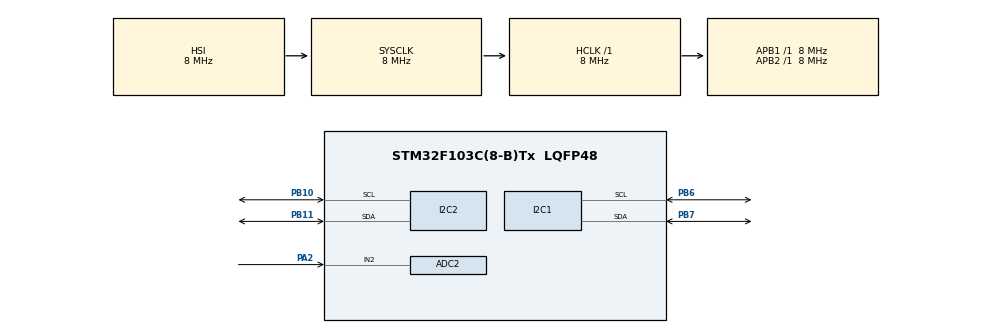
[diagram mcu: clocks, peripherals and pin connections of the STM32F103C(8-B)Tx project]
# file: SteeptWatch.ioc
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Mcu.Family=STM32F1
FREERTOS.Tasks01=defaultTask,0,128,StartDefaultTask,Default,NULL,Dynamic,NULL,NULL;bpmTask,-3,128,StartTask02,Default,NULL,Dynamic,NULL,NULL;stepTask,-3,128,StartTask03,Default,NULL,Dynamic,NULL,NULL;displayTask,-3,128,StartTask04,Default,NULL,Dynamic,NULL,NULL
PD1-OSC_OUT.Mode=HSE-External-Oscillator
PB10.Mode=I2C
SH.ADCx_IN2.0=ADC2_IN2,IN2
PD0-OSC_IN.Signal=RCC_OSC_IN
PB11.Signal=I2C2_SDA
ProjectManager.StackSize=0x400
PD1-OSC_OUT.Signal=RCC_OSC_OUT
PA13.Signal=SYS_JTMS-SWDIO
PB11.Mode=I2C
ADC2.ContinuousConvMode=DISABLE
ProjectManager.TargetToolchain=STM32CubeIDE
I2C1.I2C_Mode=I2C_Fast
RCC.HCLKFreq_Value=8000000
RCC.APB2TimFreq_Value=8000000
TIM3.Period=1999
PB6.Signal=I2C1_SCL
PB6.Mode=I2C
RCC.USBFreq_Value=8000000
RCC.AHBFreq_Value=8000000
PB10.Signal=I2C2_SCL
PD0-OSC_IN.Mode=HSE-External-Oscillator
board=custom
NVIC.TIM3_IRQn=true\:5\:0\:false\:false\:true\:true\:true\:true
ADC2.Channel-2\#ChannelRegularConversion=ADC_CHANNEL_2
RCC.APB2Freq_Value=8000000
PA14.Mode=Serial_Wire
TIM3.Prescaler=7
PB7.Signal=I2C1_SDA
VP_FREERTOS_VS_CMSIS_V1.Mode=CMSIS_V1
PA13.Mode=Serial_Wire
Mcu.Name=STM32F103C(8-B)Tx
PA2.Signal=ADCx_IN2
RCC.SYSCLKFreq_VALUE=8000000
Mcu.Package=LQFP48
ADC2.NbrOfConversionFlag=1
PB7.Mode=I2C
PA14.Signal=SYS_JTCK-SWCLK
ProjectManager.HeapSize=0x200
NVIC.PriorityGroup=NVIC_PRIORITYGROUP_4
ADC2.SamplingTime-2\#ChannelRegularConversion=ADC_SAMPLETIME_28CYCLES_5
ADC2.NbrOfConversion=1
RCC.APB1TimFreq_Value=8000000
ADC2.Rank-2\#ChannelRegularConversion=1
RCC.APB1Freq_Value=8000000
VP_TIM3_VS_ClockSourceINT.Mode=Internal

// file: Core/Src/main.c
/* USER CODE BEGIN Header */
/**
  ******************************************************************************
  * @file           : main.c
  * @brief          : Main program body
  ******************************************************************************
  * @attention
  *
  * <h2><center>&copy; Copyright (c) 2021 STMicroelectronics.
  * All rights reserved.</center></h2>
  *
  * This software component is licensed by ST under BSD 3-Clause license,
  * the "License"; You may not use this file except in compliance with the
  * License. You may obtain a copy of the License at:
  *                        opensource.org/licenses/BSD-3-Clause
  *
  ******************************************************************************
  */
/* USER CODE END Header */
#include "main.h"
#include "cmsis_os.h"

/* USER CODE BEGIN Includes */
#include "fonts.h"
#include "ssd1306.h"
#include "test.h"
#include "stdio.h"
#include "math.h"
/* USER CODE END Includes */

ADC_HandleTypeDef hadc2;

I2C_HandleTypeDef hi2c1;
I2C_HandleTypeDef hi2c2;

TIM_HandleTypeDef htim3;

osThreadId defaultTaskHandle;
osThreadId bpmTaskHandle;
osThreadId stepTaskHandle;
osThreadId displayTaskHandle;

void SystemClock_Config(void);
static void MX_GPIO_Init(void);
static void MX_I2C1_Init(void);
static void MX_ADC2_Init(void);
static void MX_TIM3_Init(void);
static void MX_I2C2_Init(void);
void StartDefaultTask(void const * argument);
void StartTask02(void const * argument);
void StartTask03(void const * argument);
void StartTask04(void const * argument);

/* USER CODE BEGIN 0 */

#define true 1
#define false 0
int bpm;                   // used to hold the pulse rate
int signal;                // holds the incoming raw data
int IBI = 600;             // holds the time between beats, must be seeded!
unsigned char pulse = false;     // true when pulse wave is high, false when it's low
unsigned char beat_detected = false;        // becomes true when stm finds a beat.
int rate[10];                    // array to hold last ten IBI values
unsigned long sampleCounter = 0;          // used to determine pulse timing
unsigned long lastBeatTime = 0;           // used to find IBI
int P =512;                      // used to find peak in pulse wave
int T = 512;                     // used to find trough in pulse wave
int thresh = 512;                // used to find instant moment of heart beat
int amp = 100;                   // used to hold amplitude of pulse waveform
int num;
unsigned char firstBeat = true;        // used to seed rate array so we startup with reasonable BPM
unsigned char secondBeat = false;      // used to seed rate array so we startup with reasonable BPM

#define MPU6050_ADDR 0xD0

#define SMPLRT_DIV_REG 0x19
#define GYRO_CONFIG_REG 0x1B
#define ACCEL_CONFIG_REG 0x1C
#define ACCEL_XOUT_H_REG 0x3B
#define TEMP_OUT_H_REG 0x41
#define GYRO_XOUT_H_REG 0x43
#define PWR_MGMT_1_REG 0x6B
#define WHO_AM_I_REG 0x75

int16_t acc_x_raw = 0;
int16_t acc_y_raw = 0;
int16_t acc_z_raw = 0;

int16_t gyro_x_raw = 0;
int16_t gyro_y_raw = 0;
int16_t gyro_z_raw = 0;

float ax, ay, az, gx, gy, gz;

float prev_vec;
float curr_vec;
float total_vec;
int step_count = 0;

char bpm_buf[10] = {0};
char step_buf[10] = {0};

void MPU6050_Init (void)
{
	uint8_t is_operating;
	uint8_t config_data;

	// check device ID WHO_AM_I

	HAL_I2C_Mem_Read (&hi2c2, MPU6050_ADDR,WHO_AM_I_REG,1, &is_operating, 1, 1000);

	if (is_operating == 0x68)  // 0x68 will be returned by the sensor if everything goes well
	{
		config_data = 0;
		HAL_I2C_Mem_Write(&hi2c2, MPU6050_ADDR, PWR_MGMT_1_REG, 1,&config_data, 1, 1000);

		config_data = 0x07;
		HAL_I2C_Mem_Write(&hi2c2, MPU6050_ADDR, SMPLRT_DIV_REG, 1, &config_data, 1, 1000);

		config_data = 0x00;
		HAL_I2C_Mem_Write(&hi2c2, MPU6050_ADDR, ACCEL_CONFIG_REG, 1, &config_data, 1, 1000);

		config_data = 0x00;
		HAL_I2C_Mem_Write(&hi2c2, MPU6050_ADDR, GYRO_CONFIG_REG, 1, &config_data, 1, 1000);
	}

}

void MPU6050_Read_Acc (void)
{
	uint8_t data[6];

	// Read 6 BYTES of data starting from ACCEL_XOUT_H register

	HAL_I2C_Mem_Read (&hi2c2, MPU6050_ADDR, ACCEL_XOUT_H_REG, 1, data, 6, 1000);

	acc_x_raw = (int16_t)(data[0] << 8 | data [1]);
	acc_y_raw = (int16_t)(data[2] << 8 | data [3]);
	acc_z_raw = (int16_t)(data[4] << 8 | data [5]);

	ax = acc_x_raw/16384.0;
	ay = acc_y_raw/16384.0;
	az = acc_z_raw/16384.0;
}

void MPU6050_Read_Gyro (void)
{
	uint8_t data[6];

	// Read 6 BYTES of data starting from GYRO_XOUT_H register

	HAL_I2C_Mem_Read (&hi2c2, MPU6050_ADDR, GYRO_XOUT_H_REG, 1, data, 6, 1000);

	gyro_x_raw = (int16_t)(data[0] << 8 | data [1]);
	gyro_y_raw = (int16_t)(data[2] << 8 | data [3]);
	gyro_z_raw = (int16_t)(data[4] << 8 | data [5]);

	gx = gyro_x_raw/131.0;
	gy = gyro_y_raw/131.0;
	gz = gyro_z_raw/131.0;
}

void accelometer_task_func()
{
	while(1)
	{
		MPU6050_Read_Acc();
		curr_vec = sqrt((acc_x_raw*acc_x_raw)+(acc_y_raw*acc_y_raw)+(acc_z_raw*acc_z_raw));
		total_vec = curr_vec - prev_vec;
		if(total_vec > 625)
			step_count += 1;
		prev_vec = curr_vec;
		osDelay(1000);
	}
}

void bpm_task_func()
{

	while(1)
	{
		if(beat_detected)
		{
			beat_detected = false;
			osDelay(20);
		}
	}
}

void display_task_func()
{

	while(1)
	{
		sprintf(bpm_buf, "%-5d", bpm);
		sprintf(step_buf, "%-5d", step_count);
		SSD1306_GotoXY(0, 40);
		SSD1306_Puts(bpm_buf, &Font_11x18, 1);
		SSD1306_GotoXY(70, 40);
		SSD1306_Puts(step_buf, &Font_11x18, 1);
		SSD1306_UpdateScreen();
		osDelay(1000);
	}
}
/* USER CODE END 0 */

int main(void)
{

  /* MCU Configuration--------------------------------------------------------*/

  /* Reset of all peripherals, Initializes the Flash interface and the Systick. */
  HAL_Init();

  /* Configure the system clock */
  SystemClock_Config();

  /* Initialize all configured peripherals */
  MX_GPIO_Init();
  MX_I2C1_Init();
  MX_ADC2_Init();
  MX_TIM3_Init();
  MX_I2C2_Init();
  /* USER CODE BEGIN 2 */
  MPU6050_Init();
  SSD1306_Init();
  HAL_TIM_Base_Start_IT(&htim3);
	SSD1306_GotoXY(0, 0);
	SSD1306_Puts("BPM", &Font_11x18, 1);

	SSD1306_GotoXY(70, 0);
	SSD1306_Puts("STEP", &Font_11x18, 1);

	SSD1306_GotoXY(58, 0);
	SSD1306_Puts("|", &Font_11x18, 1);
	SSD1306_GotoXY(58, 18);
	SSD1306_Puts("|", &Font_11x18, 1);
	SSD1306_GotoXY(58, 36);
	SSD1306_Puts("|", &Font_11x18, 1);
	SSD1306_GotoXY(58, 54);
	SSD1306_Puts("|", &Font_11x18, 1);
	SSD1306_GotoXY(58, 72);
	SSD1306_Puts("|", &Font_11x18, 1);
	SSD1306_UpdateScreen();
  /* USER CODE END 2 */

  /* Create the thread(s) */
  /* definition and creation of defaultTask */
  osThreadDef(defaultTask, StartDefaultTask, osPriorityNormal, 0, 128);
  defaultTaskHandle = osThreadCreate(osThread(defaultTask), NULL);

  /* definition and creation of bpmTask */
  osThreadDef(bpmTask, bpm_task_func, osPriorityIdle, 0, 128);
  bpmTaskHandle = osThreadCreate(osThread(bpmTask), NULL);

  /* definition and creation of stepTask */
  osThreadDef(stepTask, accelometer_task_func, osPriorityNormal, 0, 128);
  stepTaskHandle = osThreadCreate(osThread(stepTask), NULL);

  /* definition and creation of displayTask */
  osThreadDef(displayTask, display_task_func, osPriorityNormal, 0, 128);
  displayTaskHandle = osThreadCreate(osThread(displayTask), NULL);

  /* Start scheduler */
  osKernelStart();

  /* We should never get here as control is now taken by the scheduler */
  /* Infinite loop */
  while (1)
  {

  }
}

void SystemClock_Config(void)
{
  RCC_OscInitTypeDef RCC_OscInitStruct = {0};
  RCC_ClkInitTypeDef RCC_ClkInitStruct = {0};
  RCC_PeriphCLKInitTypeDef PeriphClkInit = {0};

  /** Initializes the RCC Oscillators according to the specified parameters
  * in the RCC_OscInitTypeDef structure.
  */
  RCC_OscInitStruct.OscillatorType = RCC_OSCILLATORTYPE_HSI;
  RCC_OscInitStruct.HSIState = RCC_HSI_ON;
  RCC_OscInitStruct.HSICalibrationValue = RCC_HSICALIBRATION_DEFAULT;
  RCC_OscInitStruct.PLL.PLLState = RCC_PLL_NONE;
  if (HAL_RCC_OscConfig(&RCC_OscInitStruct) != HAL_OK)
  {
    Error_Handler();
  }
  /** Initializes the CPU, AHB and APB buses clocks
  */
  RCC_ClkInitStruct.ClockType = RCC_CLOCKTYPE_HCLK|RCC_CLOCKTYPE_SYSCLK
                              |RCC_CLOCKTYPE_PCLK1|RCC_CLOCKTYPE_PCLK2;
  RCC_ClkInitStruct.SYSCLKSource = RCC_SYSCLKSOURCE_HSI;
  RCC_ClkInitStruct.AHBCLKDivider = RCC_SYSCLK_DIV1;
  RCC_ClkInitStruct.APB1CLKDivider = RCC_HCLK_DIV1;
  RCC_ClkInitStruct.APB2CLKDivider = RCC_HCLK_DIV1;

  if (HAL_RCC_ClockConfig(&RCC_ClkInitStruct, FLASH_LATENCY_0) != HAL_OK)
  {
    Error_Handler();
  }
  PeriphClkInit.PeriphClockSelection = RCC_PERIPHCLK_ADC;
  PeriphClkInit.AdcClockSelection = RCC_ADCPCLK2_DIV2;
  if (HAL_RCCEx_PeriphCLKConfig(&PeriphClkInit) != HAL_OK)
  {
    Error_Handler();
  }
}

static void MX_ADC2_Init(void)
{

  ADC_ChannelConfTypeDef sConfig = {0};

  /** Common config
  */
  hadc2.Instance = ADC2;
  hadc2.Init.ScanConvMode = ADC_SCAN_DISABLE;
  hadc2.Init.ContinuousConvMode = DISABLE;
  hadc2.Init.DiscontinuousConvMode = DISABLE;
  hadc2.Init.ExternalTrigConv = ADC_SOFTWARE_START;
  hadc2.Init.DataAlign = ADC_DATAALIGN_RIGHT;
  hadc2.Init.NbrOfConversion = 1;
  if (HAL_ADC_Init(&hadc2) != HAL_OK)
  {
    Error_Handler();
  }
  /** Configure Regular Channel
  */
  sConfig.Channel = ADC_CHANNEL_2;
  sConfig.Rank = ADC_REGULAR_RANK_1;
  sConfig.SamplingTime = ADC_SAMPLETIME_28CYCLES_5;
  if (HAL_ADC_ConfigChannel(&hadc2, &sConfig) != HAL_OK)
  {
    Error_Handler();
  }

}

static void MX_I2C1_Init(void)
{

  hi2c1.Instance = I2C1;
  hi2c1.Init.ClockSpeed = 400000;
  hi2c1.Init.DutyCycle = I2C_DUTYCYCLE_2;
  hi2c1.Init.OwnAddress1 = 0;
  hi2c1.Init.AddressingMode = I2C_ADDRESSINGMODE_7BIT;
  hi2c1.Init.DualAddressMode = I2C_DUALADDRESS_DISABLE;
  hi2c1.Init.OwnAddress2 = 0;
  hi2c1.Init.GeneralCallMode = I2C_GENERALCALL_DISABLE;
  hi2c1.Init.NoStretchMode = I2C_NOSTRETCH_DISABLE;
  if (HAL_I2C_Init(&hi2c1) != HAL_OK)
  {
    Error_Handler();
  }

}

static void MX_I2C2_Init(void)
{

  hi2c2.Instance = I2C2;
  hi2c2.Init.ClockSpeed = 100000;
  hi2c2.Init.DutyCycle = I2C_DUTYCYCLE_2;
  hi2c2.Init.OwnAddress1 = 0;
  hi2c2.Init.AddressingMode = I2C_ADDRESSINGMODE_7BIT;
  hi2c2.Init.DualAddressMode = I2C_DUALADDRESS_DISABLE;
  hi2c2.Init.OwnAddress2 = 0;
  hi2c2.Init.GeneralCallMode = I2C_GENERALCALL_DISABLE;
  hi2c2.Init.NoStretchMode = I2C_NOSTRETCH_DISABLE;
  if (HAL_I2C_Init(&hi2c2) != HAL_OK)
  {
    Error_Handler();
  }

}

static void MX_TIM3_Init(void)
{

  TIM_ClockConfigTypeDef sClockSourceConfig = {0};
  TIM_MasterConfigTypeDef sMasterConfig = {0};

  htim3.Instance = TIM3;
  htim3.Init.Prescaler = 7;
  htim3.Init.CounterMode = TIM_COUNTERMODE_UP;
  htim3.Init.Period = 1999;
  htim3.Init.ClockDivision = TIM_CLOCKDIVISION_DIV1;
  htim3.Init.AutoReloadPreload = TIM_AUTORELOAD_PRELOAD_DISABLE;
  if (HAL_TIM_Base_Init(&htim3) != HAL_OK)
  {
    Error_Handler();
  }
  sClockSourceConfig.ClockSource = TIM_CLOCKSOURCE_INTERNAL;
  if (HAL_TIM_ConfigClockSource(&htim3, &sClockSourceConfig) != HAL_OK)
  {
    Error_Handler();
  }
  sMasterConfig.MasterOutputTrigger = TIM_TRGO_RESET;
  sMasterConfig.MasterSlaveMode = TIM_MASTERSLAVEMODE_DISABLE;
  if (HAL_TIMEx_MasterConfigSynchronization(&htim3, &sMasterConfig) != HAL_OK)
  {
    Error_Handler();
  }

}

static void MX_GPIO_Init(void)
{

  /* GPIO Ports Clock Enable */
  __HAL_RCC_GPIOD_CLK_ENABLE();
  __HAL_RCC_GPIOA_CLK_ENABLE();
  __HAL_RCC_GPIOB_CLK_ENABLE();

}

/* USER CODE BEGIN 4 */
void HAL_TIM_PeriodElapsedCallback(TIM_HandleTypeDef *htim)
{
	unsigned int runningTotal;
	if(htim->Instance==htim3.Instance)
	{
		signal=HAL_ADC_GetValue(&hadc2)>>2;					 // read the Pulse Sensor
		sampleCounter += 2;                         // keep track of the time in mS with this variable
		num = sampleCounter - lastBeatTime;       // monitor the time since the last beat to avoid noise
		HAL_ADC_Start(&hadc2);									//restart ADC conversion

		//  find the peak and trough of the pulse wave
		if(signal < thresh && num > (IBI/5)*3){       // avoid dichrotic noise by waiting 3/5 of last IBI
			if (signal < T){                        // T is the trough
				T = signal;                         // keep track of lowest point in pulse wave
			}
		}

		if(signal > thresh && signal > P){          // thresh condition helps avoid noise
			P = signal;                             // P is the peak
		}                                        // keep track of highest point in pulse wave

		//  NOW IT'S TIME TO LOOK FOR THE HEART BEAT
		// signal surges up in value every time there is a pulse
		if (num > 250){                                   // avoid high frequency noise
			if ( (signal > thresh) && (pulse == false) && (num > (IBI/5)*3) ){
				pulse = true;                               // set the Pulse flag when we think there is a pulse
				IBI = sampleCounter - lastBeatTime;         // measure time between beats in mS
				lastBeatTime = sampleCounter;               // keep track of time for next pulse

				if(secondBeat){                        // if this is the second beat, if secondBeat == TRUE
					secondBeat = false;                  // clear secondBeat flag
					for(int i=0; i<=9; i++){             // seed the running total to get a realisitic BPM at startup
						rate[i] = IBI;
					}
				}

				if(firstBeat){                         // if it's the first time we found a beat, if firstBeat == TRUE
					firstBeat = false;                   // clear firstBeat flag
					secondBeat = true;                   // set the second beat flag
					return;                              // IBI value is unreliable so discard it
				}

				// keep a running total of the last 10 IBI values
				runningTotal = 0;                  // clear the runningTotal variable

				for(int i=0; i<=8; i++){                // shift data in the rate array
					rate[i] = rate[i+1];                  // and drop the oldest IBI value
					runningTotal += rate[i];              // add up the 9 oldest IBI values
				}

				rate[9] = IBI;                          // add the latest IBI to the rate array
				runningTotal += rate[9];                // add the latest IBI to runningTotal
				runningTotal /= 10;                     // average the last 10 IBI values
				bpm = 60000/runningTotal;               // how many beats can fit into a minute? that's BPM!
				beat_detected = true;                              // set beat_detected flag
			}
		}

		if (signal < thresh && pulse == true){   // when the values are going down, the beat is over
			pulse = false;                         // reset the Pulse flag so we can do it again
			amp = P - T;                           // get amplitude of the pulse wave
			thresh = amp/2 + T;                    // set thresh at 50% of the amplitude
			P = thresh;                            // reset these for next time
			T = thresh;
		}

		if (num > 2500){                           // if 2.5 seconds go by without a beat
			thresh = 512;                          // set thresh default
			P = 512;                               // set P default
			T = 512;                               // set T default
			lastBeatTime = sampleCounter;          // bring the lastBeatTime up to date
			firstBeat = true;                      // set these to avoid noise
			secondBeat = false;                    // when we get the heartbeat back
		}

	}
}
/* USER CODE END 4 */

void StartDefaultTask(void const * argument)
{
  for(;;)
  {
    osDelay(1);
  }
}

void StartTask02(void const * argument)
{
  for(;;)
  {
    osDelay(1);
  }
}

void StartTask03(void const * argument)
{
  for(;;)
  {
    osDelay(1);
  }
}

void StartTask04(void const * argument)
{
  for(;;)
  {
    osDelay(1);
  }
}

void Error_Handler(void)
{
  __disable_irq();
  while (1)
  {
  }
}

/************************ (C) COPYRIGHT STMicroelectronics *****END OF FILE****/
